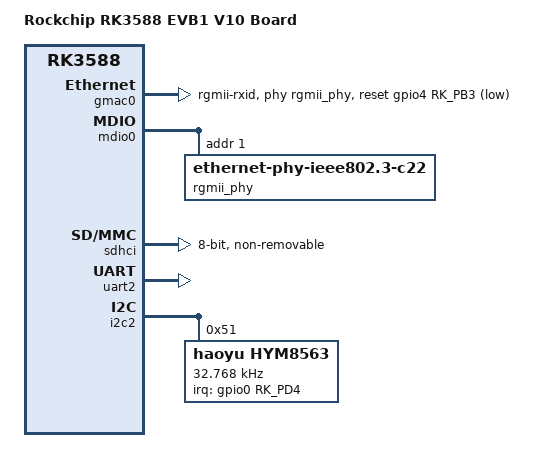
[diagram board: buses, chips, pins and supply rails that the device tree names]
// SPDX-License-Identifier: (GPL-2.0+ OR MIT)
/*
 * Copyright (c) 2021 Rockchip Electronics Co., Ltd.
 *
 */

/dts-v1/;

#include <dt-bindings/pinctrl/rockchip.h>
#include <dt-bindings/gpio/gpio.h>
#include "rk3588.dtsi"

/ {
	model = "Rockchip RK3588 EVB1 V10 Board";
	compatible = "rockchip,rk3588-evb1-v10", "rockchip,rk3588";

	chosen {
		stdout-path = "serial2:1500000n8";
	};
};

&gmac0 {
	phy-mode = "rgmii-rxid";
	clock_in_out = "output";

	snps,reset-gpio = <&gpio4 RK_PB3 GPIO_ACTIVE_LOW>;
	snps,reset-active-low;
	/* Reset time is 20ms, 100ms for rtl8211f */
	snps,reset-delays-us = <0 20000 100000>;

	pinctrl-names = "default";
	pinctrl-0 = <&gmac0_miim
		     &gmac0_tx_bus2
		     &gmac0_rx_bus2
		     &gmac0_rgmii_clk
		     &gmac0_rgmii_bus>;

	tx_delay = <0x43>;
	rx_delay = <0x00>;

	phy-handle = <&rgmii_phy>;
	status = "okay";
};

&mdio0 {
	rgmii_phy: phy@1 {
		compatible = "ethernet-phy-ieee802.3-c22";
		reg = <0x1>;
		#phy-cells = <0>;
	};
};

&sdhci {
	bus-width = <8>;
	no-sdio;
	no-sd;
	non-removable;
	max-frequency = <200000000>;
	mmc-hs400-1_8v;
	mmc-hs400-enhanced-strobe;
	status = "okay";
};

&uart2 {
	pinctrl-0 = <&uart2m0_xfer>;
	status = "okay";
};

&i2c2 {
	status = "okay";

	hym8563: hym8563@51 {
		compatible = "haoyu,hym8563";
		reg = <0x51>;
		#clock-cells = <0>;
		clock-frequency = <32768>;
		clock-output-names = "hym8563";
		pinctrl-names = "default";
		pinctrl-0 = <&hym8563_int>;
		interrupt-parent = <&gpio0>;
		interrupts = <RK_PD4 IRQ_TYPE_LEVEL_LOW>;
		wakeup-source;
	};
};

&pinctrl {
	hym8563 {
		hym8563_int: hym8563-int {
			rockchip,pins = <0 RK_PD4 RK_FUNC_GPIO &pcfg_pull_up>;
		};
	};
};
